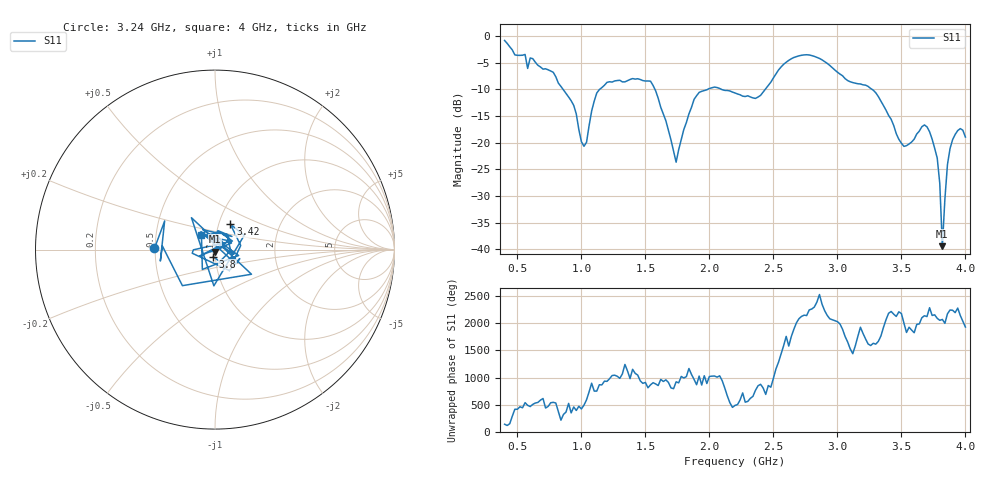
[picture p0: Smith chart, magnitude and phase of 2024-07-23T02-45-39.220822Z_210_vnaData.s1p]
!Created with skrf (http://scikit-rf.org).
# Hz S RI R 50.0
!freq ReS11 ImS11
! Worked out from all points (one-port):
!   181 points, 400 MHz to 4 GHz, reference 50 ohm
!   lowest |S11| = -39.4 dB at 3.82 GHz (marker M1), VSWR 1.02, Z = 50 - j1.07 ohm
!   |S11| at or under -10 dB: 1.575 GHz to 1.986 GHz (410.8 MHz wide, 23.1 % of centre); 2.095 GHz to 2.436 GHz (340.7 MHz wide, 15 % of centre); 3.271 GHz to end of sweep (the widest 3 of 4)
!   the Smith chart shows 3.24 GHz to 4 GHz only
!   S11 on the Smith chart (normalised r, x): 3.24 GHz: 0.50, +0.01; 3.42 GHz: 1.14, +0.33; 3.8 GHz: 0.98, -0.08; 4 GHz: 0.85, +0.14
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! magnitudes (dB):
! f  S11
! 400 MHz  -0.8
! 860 MHz  -10.1
! 940 MHz  -13.0
! 1.02 GHz  -20.7
! 1.12 GHz  -10.7
! 1.3 GHz  -8.3
! 1.54 GHz  -8.5
! 1.66 GHz  -15.9
! 1.74 GHz  -23.7
! 1.76 GHz  -21.3
! 1.92 GHz  -10.6
! 2.2 GHz  -10.7
! 2.38 GHz  -11.4
! 2.66 GHz  -4.0
! 2.86 GHz  -4.2
! 3.1 GHz  -8.6
! 3.24 GHz  -9.4
! 3.42 GHz  -15.6
! 3.5 GHz  -20.1
! 3.56 GHz  -20.2
! 3.7 GHz  -17.0
! 3.78 GHz  -22.9
! 3.8 GHz  -27.7
! 3.82 GHz  -39.4
! 3.86 GHz  -24.1
! 3.88 GHz  -21.1
! 3.96 GHz  -17.4
! 4 GHz  -18.9
